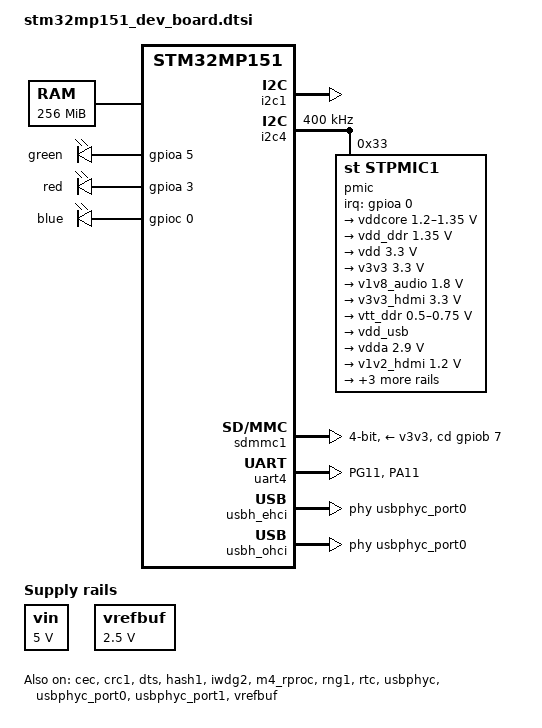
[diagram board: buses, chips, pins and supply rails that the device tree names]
/*
 * STM32MP151 Dev Board
 *
 * BasicCode
 */

#include <dt-bindings/gpio/gpio.h>
#include <dt-bindings/mfd/st,stpmic1.h>

/ {
	memory@c0000000 {
		device_type = "memory";
		reg = <0xc0000000 0x10000000>;
	};

	reserved-memory {
		#address-cells = <1>;
		#size-cells = <1>;
		ranges;

		mcuram2: mcuram2@10000000 {
			compatible = "shared-dma-pool";
			reg = <0x10000000 0x40000>;
			no-map;
		};

		vdev0vring0: vdev0vring0@10040000 {
			compatible = "shared-dma-pool";
			reg = <0x10040000 0x1000>;
			no-map;
		};

		vdev0vring1: vdev0vring1@10041000 {
			compatible = "shared-dma-pool";
			reg = <0x10041000 0x1000>;
			no-map;
		};

		vdev0buffer: vdev0buffer@10042000 {
			compatible = "shared-dma-pool";
			reg = <0x10042000 0x4000>;
			no-map;
		};

		mcuram: mcuram@30000000 {
			compatible = "shared-dma-pool";
			reg = <0x30000000 0x40000>;
			no-map;
		};

		retram: retram@38000000 {
			compatible = "shared-dma-pool";
			reg = <0x38000000 0x10000>;
			no-map;
		};
	};

	/*
	 * RGB LED on Board
	 */
	led {
		compatible = "gpio-leds";
		led-green {
			label = "green";
			gpios = <&gpioa 5 GPIO_ACTIVE_HIGH>;
			linux,default-trigger = "heartbeat";
			default-state = "off";
		};
		led-red {
			label = "red";
			gpios = <&gpioa 3 GPIO_ACTIVE_HIGH>;
			default-state = "off";
		};
		led-blue {
			label = "blue";
			gpios = <&gpioc 0 GPIO_ACTIVE_HIGH>;
			default-state = "off";
		};
	};

	vin: vin {
		compatible = "regulator-fixed";
		regulator-name = "vin";
		regulator-min-microvolt = <5000000>;
		regulator-max-microvolt = <5000000>;
		regulator-always-on;
	};
	
	/*
	sound {
		compatible = "audio-graph-card";
		label = "STM32MP15-DK";
		routing =
			"Playback" , "MCLK";
		dais = <&sai1b_port>;
		status = "okay";
	};
	*/
};


&pinctrl {
	ltdc_pins_mx: ltdc-0 {
		pins {
			pinmux = <STM32_PINMUX('G', 7, AF14)>, /* LTDC_CLK */
			<STM32_PINMUX('I', 10, AF14)>, /* LTDC_HSYNC */
			<STM32_PINMUX('I', 9, AF14)>, /* LTDC_VSYNC */
			<STM32_PINMUX('E', 13, AF14)>, /* LTDC_DE */
			<STM32_PINMUX('H', 2, AF14)>, /* LTDC_R0 */
			<STM32_PINMUX('H', 3, AF14)>, /* LTDC_R1 */
			<STM32_PINMUX('H', 8, AF14)>, /* LTDC_R2 */
			<STM32_PINMUX('H', 9, AF14)>, /* LTDC_R3 */
			<STM32_PINMUX('H', 10, AF14)>, /* LTDC_R4 */
			<STM32_PINMUX('H', 11, AF14)>, /* LTDC_R5 */
			<STM32_PINMUX('H', 12, AF14)>, /* LTDC_R6 */
			<STM32_PINMUX('E', 15, AF14)>, /* LTDC_R7 */
			<STM32_PINMUX('E', 14, AF13)>, /* LTDC_G0 */
			<STM32_PINMUX('E', 6, AF14)>, /* LTDC_G1 */
			<STM32_PINMUX('H', 13, AF14)>, /* LTDC_G2 */
			<STM32_PINMUX('H', 14, AF14)>, /* LTDC_G3 */
			<STM32_PINMUX('H', 15, AF14)>, /* LTDC_G4 */
			<STM32_PINMUX('I', 0, AF14)>, /* LTDC_G5 */
			<STM32_PINMUX('I', 1, AF14)>, /* LTDC_G6 */
			<STM32_PINMUX('I', 2, AF14)>, /* LTDC_G7 */
			<STM32_PINMUX('D', 9, AF14)>, /* LTDC_B0 */
			<STM32_PINMUX('G', 12, AF14)>, /* LTDC_B1 */
			<STM32_PINMUX('G', 10, AF14)>, /* LTDC_B2 */
			<STM32_PINMUX('D', 10, AF14)>, /* LTDC_B3 */
			<STM32_PINMUX('I', 4, AF14)>, /* LTDC_B4 */
			<STM32_PINMUX('I', 5, AF14)>, /* LTDC_B5 */
			<STM32_PINMUX('I', 6, AF14)>, /* LTDC_B6 */
			<STM32_PINMUX('I', 7, AF14)>; /* LTDC_B7 */
			bias-disable;
			drive-push-pull;
			slew-rate = <1>;
		};
	};

	ltdc_sleep_pins_mx: ltdc_sleep-0 {
		pins {
			pinmux = 
			<STM32_PINMUX('G', 7, ANALOG)>, /* LTDC_CLK */
			<STM32_PINMUX('I', 10, ANALOG)>, /* LTDC_HSYNC */
			<STM32_PINMUX('I', 9, ANALOG)>, /* LTDC_VSYNC */
			<STM32_PINMUX('E', 13, ANALOG)>, /* LTDC_DE */
			<STM32_PINMUX('H', 2, ANALOG)>, /* LTDC_R0 */
			<STM32_PINMUX('H', 3, ANALOG)>, /* LTDC_R1 */
			<STM32_PINMUX('H', 8, ANALOG)>, /* LTDC_R2 */
			<STM32_PINMUX('H', 9, ANALOG)>, /* LTDC_R3 */
			<STM32_PINMUX('H', 10, ANALOG)>, /* LTDC_R4 */
			<STM32_PINMUX('H', 11, ANALOG)>, /* LTDC_R5 */
			<STM32_PINMUX('H', 12, ANALOG)>, /* LTDC_R6 */
			<STM32_PINMUX('E', 15, ANALOG)>, /* LTDC_R7 */
			<STM32_PINMUX('E', 14, ANALOG)>, /* LTDC_G0 */
			<STM32_PINMUX('E', 6, ANALOG)>, /* LTDC_G1 */
			<STM32_PINMUX('H', 13, ANALOG)>, /* LTDC_G2 */
			<STM32_PINMUX('H', 14, ANALOG)>, /* LTDC_G3 */
			<STM32_PINMUX('H', 15, ANALOG)>, /* LTDC_G4 */
			<STM32_PINMUX('I', 0, ANALOG)>, /* LTDC_G5 */
			<STM32_PINMUX('I', 1, ANALOG)>, /* LTDC_G6 */
			<STM32_PINMUX('I', 2, ANALOG)>, /* LTDC_G7 */
			<STM32_PINMUX('D', 9, ANALOG)>, /* LTDC_B0 */
			<STM32_PINMUX('G', 12, ANALOG)>, /* LTDC_B1 */
			<STM32_PINMUX('G', 10, ANALOG)>, /* LTDC_B2 */
			<STM32_PINMUX('D', 10, ANALOG)>, /* LTDC_B3 */
			<STM32_PINMUX('I', 4, ANALOG)>, /* LTDC_B4 */
			<STM32_PINMUX('I', 5, ANALOG)>, /* LTDC_B5 */
			<STM32_PINMUX('I', 6, ANALOG)>, /* LTDC_B6 */
			<STM32_PINMUX('I', 7, ANALOG)>; /* LTDC_B7 */
		};
	};

	uart4_pins_mx: usart4@0 {
		pins1 {
			pinmux = <STM32_PINMUX('G', 11, AF6)>, /* USART4_TX */
					<STM32_PINMUX('A', 11, AF6)>; /* USART4_RX */
			bias-disable;
			drive-push-pull;
			slew-rate = <0>;
		};
	};
	uart4_sleep_pins_mx: usart4@0 {
		pins1 {
			pinmux = <STM32_PINMUX('G', 11, ANALOG)>, /* USART4_TX */
					<STM32_PINMUX('A', 11, ANALOG)>; /* USART4_RX */
			bias-disable;
			drive-push-pull;
			slew-rate = <0>;
		};
	};
	uart4_idle_pins_mx: usart4@0 {
		pins1 {
			pinmux = <STM32_PINMUX('G', 11, AF6)>, /* USART4_TX */
					<STM32_PINMUX('A', 11, AF6)>; /* USART4_RX */
			bias-disable;
			drive-push-pull;
			slew-rate = <0>;
		};
	};

	// Audio
	sai1b_pins_a: sai1b-0 {
		pins {
			pinmux = <STM32_PINMUX('F', 6, AF6)>, // SAI2_SD_B
				<STM32_PINMUX('F', 7, AF6)>, // SAI2_MCLK_BS
				<STM32_PINMUX('F', 8, AF6)>, // SAI2_SCK_B 
				<STM32_PINMUX('F', 9, AF6)>; // SAI2_FS_B 
				  
			slew-rate = <0>;
			drive-push-pull;
			bias-disable;
		};
	};

	sai1b_sleep_pins_a: sai1b-sleep-0 {
		pins {
			pinmux = <STM32_PINMUX('F', 6, ANALOG)>, // SAI2_SD_B 
			<STM32_PINMUX('F', 7, ANALOG)>, // SAI2_MCLK_B 
			<STM32_PINMUX('F', 8, ANALOG)>, // SAI2_SCK_B 
			<STM32_PINMUX('F', 9, ANALOG)>; // SAI2_FS_B 
		};
	};
};

&cec {
	pinctrl-names = "default", "sleep";
	pinctrl-0 = <&cec_pins_b>;
	pinctrl-1 = <&cec_sleep_pins_b>;
	status = "okay";
};

&crc1 {
	status = "okay";
};

&dts {
	status = "okay";
};

&hash1 {
	status = "okay";
};

&i2c1 {
	pinctrl-names = "default", "sleep";
	pinctrl-0 = <&i2c1_pins_b>;
	pinctrl-1 = <&i2c1_sleep_pins_b>;
	i2c-scl-rising-time-ns = <185>;
	i2c-scl-falling-time-ns = <20>;
	status = "okay";
	/delete-property/dmas;
	/delete-property/dma-names;
	/*
	//PCM3060 Audio Codec
	pcm3060: pcm3060@46 {
		compatible = "ti,pcm3060";
		reg = <0x46>;
		ti,out-single-ended = "true";
		clocks = <&sai1b>;
		clock-names = "MCLK";

		pcm3060_port: port {
			#address-cells = <1>;
			#size-cells = <0>;

			pcm3060_tx_endpoint: endpoint@0 {
				reg = <0>;
				remote-endpoint = <&sai1b_endpoint>;
				frame-master;
				bitclock-master;
			};
		};
	};
	*/
};


&i2c4 {
	pinctrl-names = "default", "sleep";
	pinctrl-0 = <&i2c4_pins_a>;
	pinctrl-1 = <&i2c4_sleep_pins_a>;
	i2c-scl-rising-time-ns = <185>;
	i2c-scl-falling-time-ns = <20>;
	clock-frequency = <400000>;
	status = "okay";
	/* spare dmas for other usage */
	/delete-property/dmas;
	/delete-property/dma-names;

	pmic: stpmic@33 {
		compatible = "st,stpmic1";
		reg = <0x33>;
		interrupts-extended = <&gpioa 0 IRQ_TYPE_EDGE_FALLING>;
		interrupt-controller;
		#interrupt-cells = <2>;
		status = "okay";

		regulators {
			compatible = "st,stpmic1-regulators";
			buck1-supply = <&vin>;
			buck2-supply = <&vin>;
			buck3-supply = <&vin>;
			buck4-supply = <&vin>;
			ldo1-supply = <&v3v3>;
			ldo2-supply = <&vin>;
			ldo3-supply = <&vdd_ddr>;
			ldo4-supply = <&vin>;
			ldo5-supply = <&vin>;
			ldo6-supply = <&v3v3>;
			vref_ddr-supply = <&vin>;
			boost-supply = <&vin>;
			pwr_sw1-supply = <&bst_out>;
			pwr_sw2-supply = <&bst_out>;

			vddcore: buck1 {
				regulator-name = "vddcore";
				regulator-min-microvolt = <1200000>;
				regulator-max-microvolt = <1350000>;
				regulator-always-on;
				regulator-initial-mode = <0>;
				regulator-over-current-protection;
			};

			vdd_ddr: buck2 {
				regulator-name = "vdd_ddr";
				regulator-min-microvolt = <1350000>;
				regulator-max-microvolt = <1350000>;
				regulator-always-on;
				regulator-initial-mode = <0>;
				regulator-over-current-protection;
			};

			vdd: buck3 {
				regulator-name = "vdd";
				regulator-min-microvolt = <3300000>;
				regulator-max-microvolt = <3300000>;
				regulator-always-on;
				st,mask-reset;
				regulator-initial-mode = <0>;
				regulator-over-current-protection;
			};

			v3v3: buck4 {
				regulator-name = "v3v3";
				regulator-min-microvolt = <3300000>;
				regulator-max-microvolt = <3300000>;
				regulator-always-on;
				regulator-over-current-protection;
				regulator-initial-mode = <0>;
			};

			v1v8_audio: ldo1 {
				regulator-name = "v1v8_audio";
				regulator-min-microvolt = <1800000>;
				regulator-max-microvolt = <1800000>;
				regulator-always-on;
				interrupts = <IT_CURLIM_LDO1 0>;
			};

			v3v3_hdmi: ldo2 {
				regulator-name = "v3v3_hdmi";
				regulator-min-microvolt = <3300000>;
				regulator-max-microvolt = <3300000>;
				regulator-always-on;
				interrupts = <IT_CURLIM_LDO2 0>;
			};

			vtt_ddr: ldo3 {
				regulator-name = "vtt_ddr";
				regulator-min-microvolt = <500000>;
				regulator-max-microvolt = <750000>;
				regulator-always-on;
				regulator-over-current-protection;
			};

			vdd_usb: ldo4 {
				regulator-name = "vdd_usb";
				regulator-always-on;
				interrupts = <IT_CURLIM_LDO4 0>;
			};

			vdda: ldo5 {
				regulator-name = "vdda";
				regulator-min-microvolt = <2900000>;
				regulator-max-microvolt = <2900000>;
				interrupts = <IT_CURLIM_LDO5 0>;
				regulator-always-on;
				regulator-boot-on;
			};

			v1v2_hdmi: ldo6 {
				regulator-name = "v1v2_hdmi";
				regulator-min-microvolt = <1200000>;
				regulator-max-microvolt = <1200000>;
				regulator-always-on;
				interrupts = <IT_CURLIM_LDO6 0>;
			};

			vref_ddr: vref_ddr {
				regulator-name = "vref_ddr";
				regulator-always-on;
			};

			 bst_out: boost {
				regulator-name = "bst_out";
				interrupts = <IT_OCP_BOOST 0>;
			 };

			 vbus_sw: pwr_sw2 {
				regulator-name = "vbus_sw";
				interrupts = <IT_OCP_SWOUT 0>;
				regulator-active-discharge = <1>;
			 };
		};

		onkey {
			compatible = "st,stpmic1-onkey";
			interrupts = <IT_PONKEY_F 0>, <IT_PONKEY_R 0>;
			interrupt-names = "onkey-falling", "onkey-rising";
			power-off-time-sec = <10>;
			status = "okay";
		};

		watchdog {
			compatible = "st,stpmic1-wdt";
			status = "disabled";
		};
	};
};

&i2c5 {
	pinctrl-names = "default", "sleep";
	pinctrl-0 = <&i2c5_pins_a>;
	pinctrl-1 = <&i2c5_sleep_pins_a>;
	i2c-scl-rising-time-ns = <185>;
	i2c-scl-falling-time-ns = <20>;
	clock-frequency = <400000>;
	/* spare dmas for other usage */
	/delete-property/dmas;
	/delete-property/dma-names;
	status = "disabled";
};

&ipcc {
	status = "okay";
};

&iwdg2 {
	timeout-sec = <32>;
	status = "okay";
};

&m4_rproc {
	memory-region = <&retram>, <&mcuram>, <&mcuram2>, <&vdev0vring0>,
			<&vdev0vring1>, <&vdev0buffer>;
	mboxes = <&ipcc 0>, <&ipcc 1>, <&ipcc 2>, <&ipcc 3>;
	mbox-names = "vq0", "vq1", "shutdown", "detach";
	interrupt-parent = <&exti>;
	interrupts = <68 1>;
	status = "okay";
};

&pwr_regulators {
	vdd-supply = <&vdd>;
	vdd_3v3_usbfs-supply = <&vdd_usb>;
};

&rng1 {
	status = "okay";
};

&rtc {
	status = "okay";
};

/*
 * SD card / Boot
 */
&sdmmc1 {
	pinctrl-names = "default", "opendrain", "sleep";
	pinctrl-0 = <&sdmmc1_b4_pins_a>;
	pinctrl-1 = <&sdmmc1_b4_od_pins_a>;
	pinctrl-2 = <&sdmmc1_b4_sleep_pins_a>;
	cd-gpios = <&gpiob 7 (GPIO_ACTIVE_HIGH | GPIO_PULL_DOWN)>; //STM32MP151_dev_board
	//cd-gpios = <&gpiob 7 (GPIO_ACTIVE_LOW | GPIO_PULL_UP)>; //STM32mp157c-dk2
	disable-wp;
	st,neg-edge;
	bus-width = <4>;
	vmmc-supply = <&v3v3>;
	status = "okay";
};

&timers1 {
	/* spare dmas for other usage */
	/delete-property/dmas;
	/delete-property/dma-names;
	status = "disabled";
	pwm {
		pinctrl-0 = <&pwm1_pins_a>;
		pinctrl-1 = <&pwm1_sleep_pins_a>;
		pinctrl-names = "default", "sleep";
		status = "okay";
	};
	timer@0 {
		status = "okay";
	};
};

&timers3 {
	/delete-property/dmas;
	/delete-property/dma-names;
	status = "disabled";
	pwm {
		pinctrl-0 = <&pwm3_pins_a>;
		pinctrl-1 = <&pwm3_sleep_pins_a>;
		pinctrl-names = "default", "sleep";
		status = "okay";
	};
	timer@2 {
		status = "okay";
	};
};

&timers4 {
	/delete-property/dmas;
	/delete-property/dma-names;
	status = "disabled";
	pwm {
		pinctrl-0 = <&pwm4_pins_a &pwm4_pins_b>;
		pinctrl-1 = <&pwm4_sleep_pins_a &pwm4_sleep_pins_b>;
		pinctrl-names = "default", "sleep";
		status = "okay";
	};
	timer@3 {
		status = "okay";
	};
};

&timers5 {
	/delete-property/dmas;
	/delete-property/dma-names;
	status = "disabled";
	pwm {
		pinctrl-0 = <&pwm5_pins_a>;
		pinctrl-1 = <&pwm5_sleep_pins_a>;
		pinctrl-names = "default", "sleep";
		status = "okay";
	};
	timer@4 {
		status = "okay";
	};
};

&timers6 {
	/delete-property/dmas;
	/delete-property/dma-names;
	status = "disabled";
	timer@5 {
		status = "okay";
	};
};

&timers12 {
	/delete-property/dmas;
	/delete-property/dma-names;
	status = "disabled";
	pwm {
		pinctrl-0 = <&pwm12_pins_a>;
		pinctrl-1 = <&pwm12_sleep_pins_a>;
		pinctrl-names = "default", "sleep";
		status = "okay";
	};
	timer@11 {
		status = "okay";
	};
};

&uart4 {
	pinctrl-names = "default", "sleep", "idle";
	pinctrl-0 = <&uart4_pins_mx>;
	pinctrl-1 = <&uart4_sleep_pins_mx>;
	pinctrl-2 = <&uart4_idle_pins_mx>;
	/delete-property/dmas;
	/delete-property/dma-names;
	status = "okay";
};

&uart7 {
	pinctrl-names = "default", "sleep", "idle";
	pinctrl-0 = <&uart7_pins_c>;
	pinctrl-1 = <&uart7_sleep_pins_c>;
	pinctrl-2 = <&uart7_idle_pins_c>;
	/delete-property/dmas;
	/delete-property/dma-names;
	status = "disabled";
};

&usart3 {
	pinctrl-names = "default", "sleep", "idle";
	pinctrl-0 = <&usart3_pins_c>;
	pinctrl-1 = <&usart3_sleep_pins_c>;
	pinctrl-2 = <&usart3_idle_pins_c>;
	uart-has-rtscts;
	status = "disabled";
};

/*
 * USB Configuration
 */
&usbh_ehci {
	status = "okay";
	phys = <&usbphyc_port0>, <&usbphyc_port1 1>;
	phy-names = "usb", "usb";
};

&usbh_ohci {
	phys = <&usbphyc_port0>, <&usbphyc_port1 1>;
	phy-names = "usb", "usb";
	status = "okay";
};

&usbphyc {
	status = "okay";
};

&usbphyc_port0 {
	status="okay";
	phy-supply = <&vdd_usb>;
};

&usbphyc_port1 {
	status="okay";
	phy-supply = <&vdd_usb>;
};

&vrefbuf {
	regulator-min-microvolt = <2500000>;
	regulator-max-microvolt = <2500000>;
	vdda-supply = <&vdd>;
	status = "okay";
};

/*
 * Regulators associated with USB.
 */
&reg11 {
	regulator-always-on;
};

&reg18 {
	regulator-always-on;
};

&usb33 {
	regulator-always-on;
};

/*
 * Audio
 */
/*
&sai1 {
	clocks = <&rcc SAI1>, <&rcc PLL3_Q>, <&rcc PLL3_R>;
	clock-names = "pclk", "i2sclk", "x8k", "x11k";
	pinctrl-names = "default", "sleep";
	pinctrl-0 = <&sai1b_pins_a>;
	pinctrl-1 = <&sai1b_sleep_pins_a>;
	status = "okay";

	sai1a: audio-controller@4400a004 {
		#clock-cells = <0>;
		status = "okay";
	};

	sai1b: audio-controller@4400a024 {
		clocks = <&rcc SAI1_K>, <&sai1a>;
		clock-names = "sai_ck", "MCLK";
		dma-names = "tx";
		status = "okay";

		sai1b_port: port {
			sai1b_endpoint: endpoint {
				remote-endpoint = <&pcm3060_tx_endpoint>;
				format = "i2s";
				mclk-fs = <256>;
				dai-tdm-slot-num = <2>;
				dai-tdm-slot-width = <32>;
			};
		};
	};
};
*/
